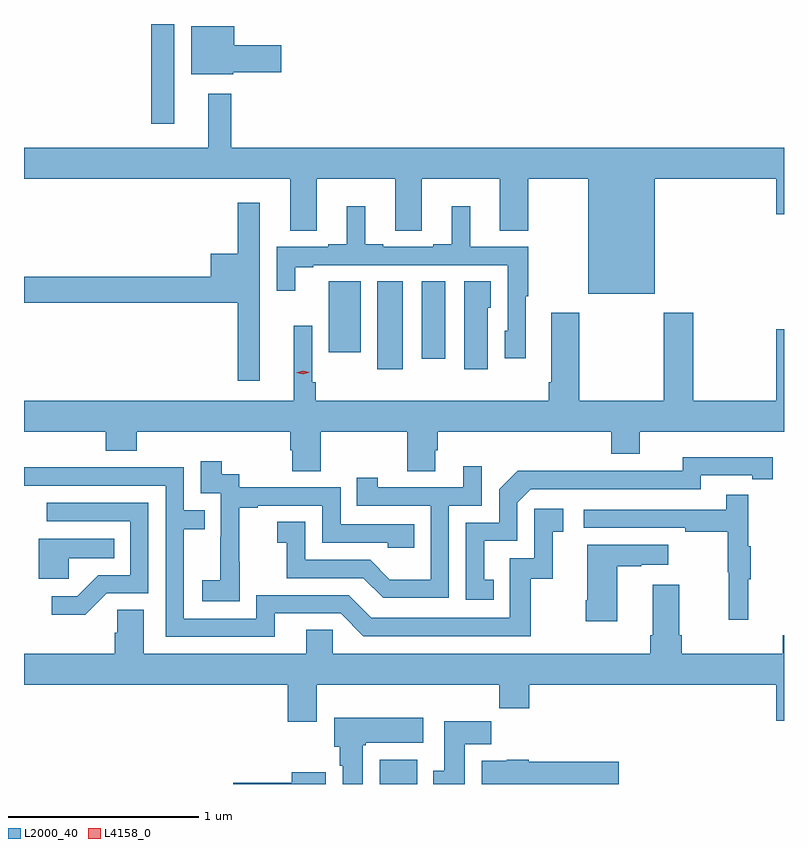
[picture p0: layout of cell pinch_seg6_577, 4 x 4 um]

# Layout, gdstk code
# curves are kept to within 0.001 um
import gdstk
lib = gdstk.Library(unit=1e-6, precision=1e-09)
def R(c, l, rs):  # rectangles x0, y0, x1, y1
    for r in rs: c.add(gdstk.rectangle(r[:2], r[2:], *l))
def P(c, l, *ps):  # polygons
    for p in ps: c.add(gdstk.Polygon(p, *l))
L2000_40 = (2000, 40)
L4158_0 = (4158, 0)

pinch_seg6_577 = lib.new_cell('pinch_seg6_577')
R(pinch_seg6_577, L2000_40, [(522.56,970.79,522.757,970.918), (522.548,972.972,522.682,973.436), (522.782,973.029,522.904,973.436), (522.293,973.062,522.46,973.436), (521.358,974.265,521.479,974.79)])
P(pinch_seg6_577, L2000_40, [(521.79,974.536),(522.043,974.536),(522.043,974.678),(521.794,974.678),(521.794,974.779),(521.567,974.779),(521.567,974.525),(521.79,974.525)],
  [(524.008,973.976),(524.648,973.976),(524.648,973.788),(524.688,973.788),(524.688,974.14),(521.779,974.14),(521.779,974.422),(521.657,974.422),(521.657,974.14),(520.688,974.14),(520.688,973.976),(522.089,973.976),(522.089,973.702),(522.229,973.702),(522.229,973.976),(522.641,973.976),(522.641,973.702),(522.781,973.702),(522.781,973.976),(523.193,973.976),(523.193,973.702),(523.341,973.702),(523.341,973.976),(523.658,973.976),(523.658,973.37),(524.008,973.37)],
  [(521.93,973.347),(521.928,973.347),(521.928,973.849),(521.812,973.849),(521.812,973.582),(521.672,973.582),(521.672,973.46),(520.688,973.46),(520.688,973.324),(521.812,973.324),(521.812,972.912),(521.93,972.912)],
  [(523.33,973.357),(523.342,973.357),(523.342,973.617),(523.036,973.617),(523.036,973.831),(522.938,973.831),(522.938,973.63),(522.842,973.63),(522.842,973.617),(522.58,973.617),(522.58,973.63),(522.484,973.63),(522.484,973.831),(522.386,973.831),(522.386,973.63),(522.29,973.63),(522.29,973.617),(522.018,973.617),(522.018,973.386),(522.115,973.386),(522.115,973.509),(522.211,973.509),(522.211,973.521),(523.233,973.521),(523.233,973.176),(523.217,973.176),(523.217,973.032),(523.33,973.032)],
  [(523.129,973.296),(523.144,973.296),(523.144,973.436),(523.004,973.436),(523.004,972.972),(523.129,972.972)],
  [(523.611,973.27),(523.463,973.27),(523.463,972.904),(523.451,972.904),(523.451,972.808),(522.224,972.808),(522.224,972.904),(522.204,972.904),(522.204,973.201),(522.107,973.201),(522.107,972.808),(520.688,972.808),(520.688,972.644),(521.117,972.644),(521.117,972.545),(521.282,972.545),(521.282,972.644),(522.089,972.644),(522.089,972.546),(522.101,972.546),(522.101,972.436),(522.249,972.436),(522.249,972.644),(522.706,972.644),(522.706,972.436),(522.853,972.436),(522.853,972.546),(522.866,972.546),(522.866,972.644),(523.778,972.644),(523.778,972.527),(523.93,972.527),(523.93,972.644),(524.688,972.644),(524.688,973.183),(524.648,973.183),(524.648,972.808),(524.211,972.808),(524.211,973.27),(524.056,973.27),(524.056,972.808),(523.611,972.808)],
  [(523.16,971.865),(523.111,971.865),(523.111,972.069),(523.284,972.069),(523.284,972.27),(523.356,972.342),(524.25,972.342),(524.25,972.414),(524.522,972.414),(524.522,972.394),(524.63,972.394),(524.63,972.51),(524.154,972.511),(524.154,972.438),(523.694,972.438),(523.694,972.44),(523.286,972.44),(523.188,972.342),(523.188,972.165),(523.014,972.165),(523.014,971.76),(523.16,971.76)],
  [(521.823,971.959),(521.822,971.959),(521.822,972.243),(521.917,972.243),(521.917,972.255),(522.258,972.255),(522.258,972.06),(522.603,972.06),(522.603,972.033),(522.743,972.033),(522.743,972.156),(522.354,972.156),(522.354,972.351),(521.82,972.351),(521.82,972.42),(521.728,972.42),(521.728,972.49),(521.619,972.49),(521.619,972.321),(521.724,972.321),(521.724,972.092),(521.722,972.092),(521.722,971.863),(521.625,971.863),(521.625,971.753),(521.823,971.753)],
  [(522.924,972.255),(523.098,972.255),(523.098,972.463),(523.001,972.463),(523.001,972.351),(522.55,972.351),(522.55,972.403),(522.439,972.403),(522.439,972.255),(522.828,972.255),(522.828,971.866),(522.614,971.866),(522.51,971.97),(522.168,971.97),(522.168,972.169),(522.02,972.169),(522.02,972.059),(522.07,972.059),(522.07,971.874),(522.473,971.874),(522.578,971.769),(522.924,971.769)],
  [(522.007,971.688),(522.354,971.688),(522.474,971.568),(523.354,971.568),(523.354,971.871),(523.472,971.871),(523.472,972.117),(523.525,972.117),(523.525,972.238),(523.374,972.238),(523.374,971.979),(523.245,971.979),(523.245,971.664),(522.516,971.664),(522.396,971.784),(521.91,971.784),(521.91,971.661),(521.529,971.661),(521.529,972.13),(521.639,972.13),(521.639,972.231),(521.529,972.231),(521.529,972.456),(521.033,972.456),(521.033,972.458),(520.688,972.458),(520.688,972.36),(521.433,972.36),(521.433,971.565),(522.007,971.565)],
  [(524.501,971.867),(524.512,971.867),(524.512,972.041),(524.501,972.041),(524.501,972.313),(524.383,972.313),(524.383,972.234),(523.635,972.234),(523.635,972.138),(524.167,972.138),(524.167,972.118),(524.391,972.118),(524.391,971.904),(524.398,971.904),(524.398,971.655),(524.501,971.655)],
  [(521.124,971.793),(521.343,971.793),(521.343,972.27),(520.809,972.27),(520.809,972.174),(521.247,972.174),(521.247,971.889),(521.078,971.889),(520.967,971.778),(520.833,971.778),(520.833,971.681),(521.011,971.681)],
  [(520.923,971.978),(521.162,971.978),(521.162,972.082),(520.766,972.082),(520.766,971.87),(520.923,971.87)],
  [(523.81,971.935),(523.937,971.935),(523.937,971.945),(524.08,971.945),(524.08,972.049),(523.652,972.049),(523.652,971.758),(523.645,971.758),(523.645,971.646),(523.81,971.646)],
  [(522.229,971.312),(523.189,971.312),(523.189,971.188),(523.346,971.188),(523.346,971.312),(524.648,971.312),(524.648,971.124),(524.688,971.124),(524.688,971.572),(524.681,971.572),(524.681,971.476),(524.15,971.476),(524.15,971.572),(524.137,971.572),(524.137,971.839),(523.997,971.839),(523.997,971.572),(523.985,971.572),(523.985,971.476),(522.312,971.476),(522.312,971.603),(522.173,971.603),(522.173,971.476),(521.317,971.476),(521.317,971.708),(521.178,971.708),(521.178,971.585),(521.165,971.585),(521.165,971.476),(520.688,971.476),(520.688,971.312),(522.077,971.312),(522.077,971.118),(522.229,971.118)],
  [(522.472,970.993),(522.486,970.993),(522.486,971.006),(522.79,971.006),(522.79,971.14),(522.32,971.14),(522.32,970.986),(522.35,970.986),(522.35,970.886),(522.365,970.886),(522.365,970.79),(522.472,970.79)],
  [(523.009,971),(523.148,971),(523.148,971.119),(522.899,971.119),(522.899,970.86),(522.842,970.86),(522.842,970.79),(523.009,970.79)],
  [(523.819,970.908),(523.344,970.908),(523.344,970.918),(523.23,970.918),(523.23,970.912),(523.097,970.912),(523.097,970.79),(523.819,970.79)],
  [(522.277,970.852),(522.098,970.852),(522.098,970.796),(521.788,970.796),(521.788,970.79),(522.277,970.79)])
P(pinch_seg6_577, L4158_0, [(522.157,972.946),(522.12,972.955),(522.12,972.955),(522.12,972.955),(522.156,972.966),(522.192,972.958),(522.192,972.957),(522.192,972.957)])

lib.write_gds('pinch_seg6_577.gds')
